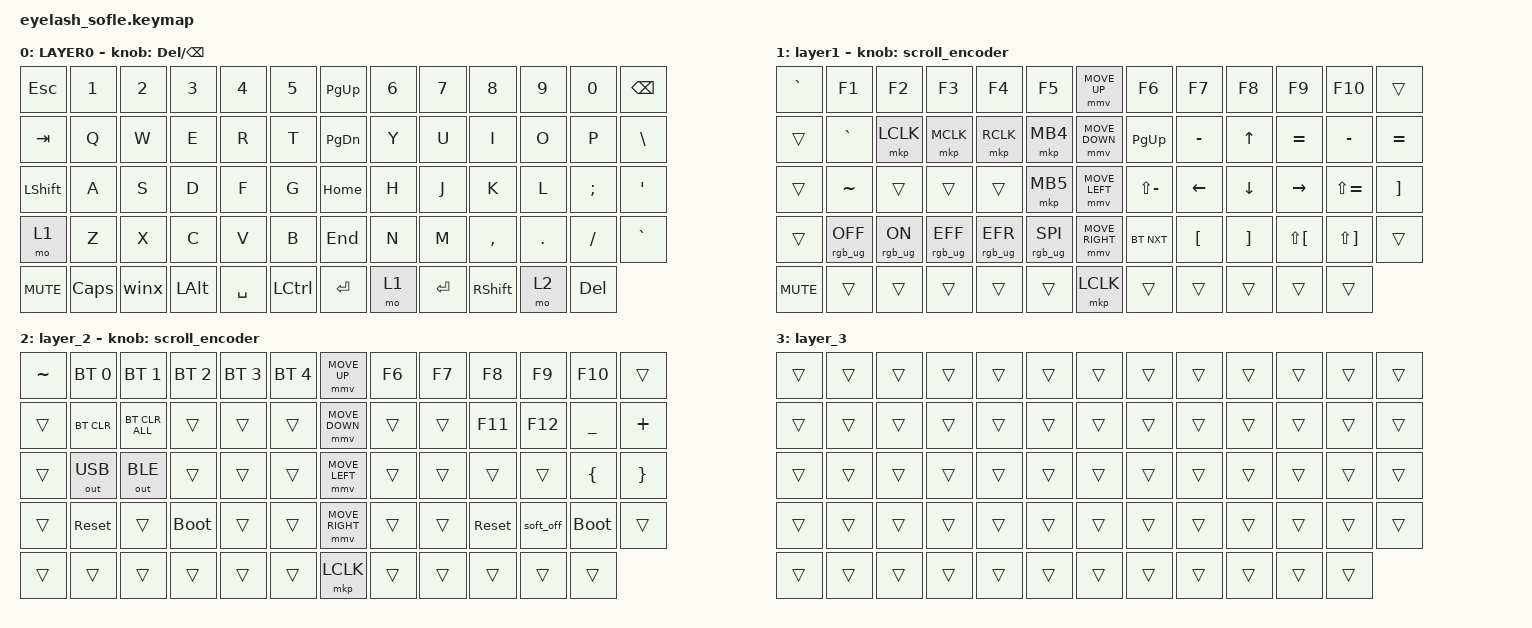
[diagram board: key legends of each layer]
#define ZMK_POINTING_DEFAULT_MOVE_VAL 1200  // 600
#define ZMK_POINTING_DEFAULT_SCRL_VAL 25   // 10

#include <input/processors.dtsi>
#include <zephyr/dt-bindings/input/input-event-codes.h>
#include <behaviors.dtsi>
#include <dt-bindings/zmk/bt.h>
#include <dt-bindings/zmk/keys.h>
#include <dt-bindings/zmk/outputs.h>
#include <dt-bindings/zmk/pointing.h>
#include <dt-bindings/zmk/rgb.h>

&mmv_input_listener { input-processors = <&zip_xy_scaler 2 1>; };

&msc_input_listener { input-processors = <&zip_scroll_scaler 2 1>; };

&msc {
    acceleration-exponent = <1>;      // 0
    time-to-max-speed-ms = <100>;       // 300
    delay-ms = <0>;                   // 0
};

&mmv {
    time-to-max-speed-ms = <500>;
    acceleration-exponent = <1>;
    trigger-period-ms = <16>;
};

/ {
    scroll_encoder: scroll_encoder {
        compatible = "zmk,behavior-sensor-rotate";
        #sensor-binding-cells = <0>;
        bindings = <&msc SCRL_DOWN>, <&msc SCRL_UP>;

        tap-ms = <100>;
    };

    winx: winx {
        compatible = "zmk,behavior-tap-dance";
        #binding-cells = <0>;
        bindings = <&kp LEFT_WIN>, <&kp LG(X)>;
    };

    behaviors {
    };

    keymap {
        compatible = "zmk,keymap";

        layer0 {
            bindings = <
&kp ESC         &kp N1        &kp N2  &kp N3        &kp N4     &kp N5       &kp PG_UP      &kp N6  &kp N7     &kp N8           &kp N9   &kp N0      &kp BACKSPACE
&kp TAB         &kp Q         &kp W   &kp E         &kp R      &kp T        &kp PAGE_DOWN  &kp Y   &kp U      &kp I            &kp O    &kp P       &kp BSLH
&kp LEFT_SHIFT  &kp A         &kp S   &kp D         &kp F      &kp G        &kp HOME       &kp H   &kp J      &kp K            &kp L    &kp SEMI    &kp APOS
&mo 1           &kp Z         &kp X   &kp C         &kp V      &kp B        &kp END        &kp N   &kp M      &kp COMMA        &kp DOT  &kp FSLH    &kp GRAVE
&kp C_MUTE      &kp CAPSLOCK  &winx   &kp LEFT_ALT  &kp SPACE  &kp LCTRL    &kp ENTER      &mo 1   &kp ENTER  &kp RIGHT_SHIFT  &mo 2    &kp DELETE
            >;

            sensor-bindings = <&inc_dec_kp DELETE BACKSPACE>;
            display-name = "LAYER0";
        };

        layer_1 {
            bindings = <
&kp GRAVE   &kp F1           &kp F2          &kp F3           &kp F4           &kp F5             &mmv MOVE_UP     &kp F6         &kp F7            &kp F8             &kp F9                &kp F10                &trans
&trans      &kp GRAVE        &mkp LCLK       &mkp MCLK        &mkp RCLK        &mkp MB4           &mmv MOVE_DOWN   &kp PG_UP      &kp MINUS         &kp UP             &kp EQUAL             &kp MINUS              &kp EQUAL
&trans      &kp TILDE        &trans          &trans           &trans           &mkp MB5           &mmv MOVE_LEFT   &kp LS(MINUS)  &kp LEFT          &kp DOWN           &kp RIGHT             &kp LS(EQUAL)          &kp RIGHT_BRACKET
&trans      &rgb_ug RGB_OFF  &rgb_ug RGB_ON  &rgb_ug RGB_EFF  &rgb_ug RGB_EFR  &rgb_ug RGB_SPI    &mmv MOVE_RIGHT  &bt BT_NXT     &kp LEFT_BRACKET  &kp RIGHT_BRACKET  &kp LS(LEFT_BRACKET)  &kp LS(RIGHT_BRACKET)  &trans
&kp C_MUTE  &trans           &trans          &trans           &trans           &trans             &mkp LCLK        &trans         &trans            &trans             &trans                &trans
            >;

            display-name = "layer1";
            sensor-bindings = <&scroll_encoder>;
        };

        layer_2 {
            bindings = <
&kp TILDE  &bt BT_SEL 0  &bt BT_SEL 1    &bt BT_SEL 2  &bt BT_SEL 3  &bt BT_SEL 4    &mmv MOVE_UP     &kp F6  &kp F7  &kp F8      &kp F9     &kp F10      &trans
&trans     &bt BT_CLR    &bt BT_CLR_ALL  &trans        &trans        &trans          &mmv MOVE_DOWN   &trans  &trans  &kp F11     &kp F12    &kp UNDER    &kp PLUS
&trans     &out OUT_USB  &out OUT_BLE    &trans        &trans        &trans          &mmv MOVE_LEFT   &trans  &trans  &trans      &trans     &kp LBRC     &kp RBRC
&trans     &sys_reset    &trans          &bootloader   &trans        &trans          &mmv MOVE_RIGHT  &trans  &trans  &sys_reset  &soft_off  &bootloader  &trans
&trans     &trans        &trans          &trans        &trans        &trans          &mkp LCLK        &trans  &trans  &trans      &trans     &trans
            >;

            sensor-bindings = <&scroll_encoder>;
        };

        layer_3 {
            bindings = <
&trans  &trans  &trans  &trans  &trans  &trans    &trans  &trans  &trans  &trans  &trans  &trans  &trans
&trans  &trans  &trans  &trans  &trans  &trans    &trans  &trans  &trans  &trans  &trans  &trans  &trans
&trans  &trans  &trans  &trans  &trans  &trans    &trans  &trans  &trans  &trans  &trans  &trans  &trans
&trans  &trans  &trans  &trans  &trans  &trans    &trans  &trans  &trans  &trans  &trans  &trans  &trans
&trans  &trans  &trans  &trans  &trans  &trans    &trans  &trans  &trans  &trans  &trans  &trans
            >;
        };
    };
};
